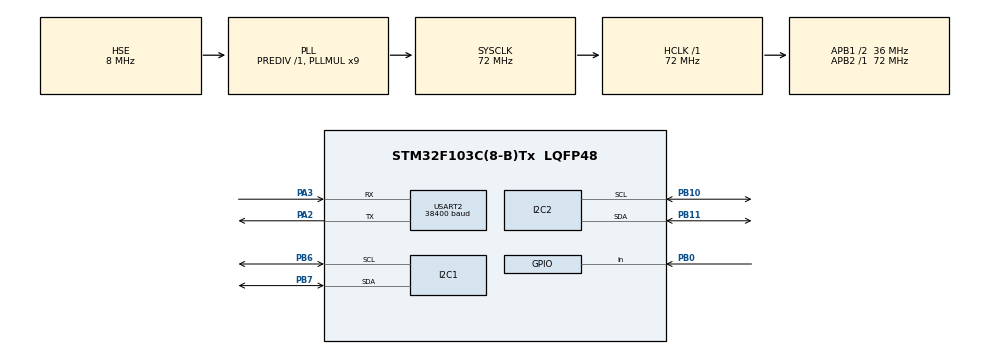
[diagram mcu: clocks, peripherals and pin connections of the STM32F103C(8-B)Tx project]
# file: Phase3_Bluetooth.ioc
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Dma.Request0=USART2_TX
Dma.Request1=USART2_RX
Dma.USART2_RX.1.Direction=DMA_PERIPH_TO_MEMORY
Dma.USART2_RX.1.Instance=DMA1_Channel6
Dma.USART2_RX.1.MemDataAlignment=DMA_MDATAALIGN_BYTE
Dma.USART2_RX.1.MemInc=DMA_MINC_ENABLE
Dma.USART2_RX.1.Mode=DMA_CIRCULAR
Dma.USART2_RX.1.PeriphDataAlignment=DMA_PDATAALIGN_BYTE
Dma.USART2_RX.1.PeriphInc=DMA_PINC_DISABLE
Dma.USART2_RX.1.Priority=DMA_PRIORITY_LOW
Dma.USART2_TX.0.Direction=DMA_MEMORY_TO_PERIPH
Dma.USART2_TX.0.Instance=DMA1_Channel7
Dma.USART2_TX.0.MemDataAlignment=DMA_MDATAALIGN_BYTE
Dma.USART2_TX.0.MemInc=DMA_MINC_ENABLE
Dma.USART2_TX.0.Mode=DMA_NORMAL
Dma.USART2_TX.0.PeriphDataAlignment=DMA_PDATAALIGN_BYTE
Dma.USART2_TX.0.PeriphInc=DMA_PINC_DISABLE
Dma.USART2_TX.0.Priority=DMA_PRIORITY_LOW
Mcu.Family=STM32F1
Mcu.Name=STM32F103C(8-B)Tx
Mcu.Package=LQFP48
NVIC.DMA1_Channel6_IRQn=true\:0\:0\:false\:false\:true\:false\:true\:true
NVIC.DMA1_Channel7_IRQn=true\:0\:0\:false\:false\:true\:false\:true\:true
NVIC.PriorityGroup=NVIC_PRIORITYGROUP_4
NVIC.USART2_IRQn=true\:5\:0\:true\:false\:true\:true\:true\:true
PA13.Mode=Serial_Wire
PA13.Signal=SYS_JTMS-SWDIO
PA14.Mode=Serial_Wire
PA14.Signal=SYS_JTCK-SWCLK
PA2.Mode=Asynchronous
PA2.Signal=USART2_TX
PA3.Mode=Asynchronous
PA3.Signal=USART2_RX
PB0.GPIO_PuPd=GPIO_PULLDOWN
PB0.Signal=GPIO_Input
PB10.Mode=I2C
PB10.Signal=I2C2_SCL
PB11.Mode=I2C
PB11.Signal=I2C2_SDA
PB6.Mode=I2C
PB6.Signal=I2C1_SCL
PB7.Mode=I2C
PB7.Signal=I2C1_SDA
PD0-OSC_IN.Mode=HSE-External-Oscillator
PD0-OSC_IN.Signal=RCC_OSC_IN
PD1-OSC_OUT.Mode=HSE-External-Oscillator
PD1-OSC_OUT.Signal=RCC_OSC_OUT
ProjectManager.HeapSize=0x200
ProjectManager.StackSize=0x400
ProjectManager.TargetToolchain=CMake
RCC.AHBFreq_Value=72000000
RCC.APB1CLKDivider=RCC_HCLK_DIV2
RCC.APB1Freq_Value=36000000
RCC.APB1TimFreq_Value=72000000
RCC.APB2Freq_Value=72000000
RCC.APB2TimFreq_Value=72000000
RCC.HCLKFreq_Value=72000000
RCC.PLLMUL=RCC_PLL_MUL9
RCC.PLLSourceVirtual=RCC_PLLSOURCE_HSE
RCC.SYSCLKFreq_VALUE=72000000
RCC.SYSCLKSource=RCC_SYSCLKSOURCE_PLLCLK
RCC.USBFreq_Value=72000000
USART2.BaudRate=38400
USART2.VirtualMode=VM_ASYNC
board=custom

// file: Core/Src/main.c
/* USER CODE BEGIN Header */
/**
  ******************************************************************************
  * @file           : main.c
  * @brief          : Main program body
  ******************************************************************************
  * @attention
  *
  * Copyright (c) 2026 STMicroelectronics.
  * All rights reserved.
  *
  * This software is licensed under terms that can be found in the LICENSE file
  * in the root directory of this software component.
  * If no LICENSE file comes with this software, it is provided AS-IS.
  *
  ******************************************************************************
  */
/* USER CODE END Header */
#include "main.h"
#include "dma.h"
#include "i2c.h"
#include "usart.h"
#include "gpio.h"

/* USER CODE BEGIN Includes */
#include "oled.h"
#include "smartwatch_ui.h"
#include "mpu6050.h"
#include "usart.h"
#include "bluetooth.h"
/* USER CODE END Includes */

/* USER CODE BEGIN PV */
SmartWatchData_t watch_data;
/* USER CODE END PV */

void SystemClock_Config(void);

int main(void)
{

  /* MCU Configuration--------------------------------------------------------*/

  /* Reset of all peripherals, Initializes the Flash interface and the Systick. */
  HAL_Init();

  /* Configure the system clock */
  SystemClock_Config();

  /* Initialize all configured peripherals */
  MX_GPIO_Init();
  MX_DMA_Init();
  MX_I2C1_Init();
  MX_I2C2_Init();
  MX_USART2_UART_Init();
  /* USER CODE BEGIN 2 */

  UI_InitData(&watch_data);

  /* Initialize OLED */
  OLED_Init();

  /* Initialize MPU6050 */
  watch_data.imu_status = (MPU6050_Init() == 0) ? 1 : 0;

  /* Initialize Bluetooth */
  BT_Init();
  watch_data.bt_connected = 0;

  /* Show IMU page */
  UI_DrawPage(PAGE_IMU, &watch_data);

  /* USER CODE END 2 */

  /* Infinite loop */
  while (1)
  {

    /* USER CODE BEGIN 3 */
    uint32_t now = HAL_GetTick();

    /* Read MPU6050 and update display every 200ms */
    {
        static uint32_t last_mpu_tick = 0;
        static uint32_t last_retry_tick = 0;
        static uint32_t last_bt_tick = 0;

        if (watch_data.imu_status) {
            if (now - last_mpu_tick >= 200) {
                int acc_ok = MPU6050_ReadAccel(&watch_data.accel);
                int gyr_ok = MPU6050_ReadGyro(&watch_data.gyro);
                float temp = MPU6050_ReadTemp();

                if (acc_ok != 0 || gyr_ok != 0 || temp < -100.0f) {
                    watch_data.imu_status = 0;
                } else {
                    MPU6050_CalcAngle(&watch_data.accel, &watch_data.angle);
                    watch_data.temp_celsius = (int8_t)temp;
                }

                /* Send sensor data via Bluetooth every 1s */
                if (now - last_bt_tick >= 1000) {
                    BT_SendSensorData(&watch_data);
                    last_bt_tick = now;
                }

                UI_DrawPage(PAGE_IMU, &watch_data);
                last_mpu_tick = now;
            }
        } else {
            if (now - last_retry_tick >= 3000) {
                if (MPU6050_Init() == 0) {
                    watch_data.imu_status = 1;
                }
                UI_DrawPage(PAGE_IMU, &watch_data);
                last_retry_tick = now;
            }
        }
    }

    /* Process incoming Bluetooth frames */
    if (BT_Process(&watch_data)) {
        UI_DrawPage(PAGE_IMU, &watch_data);
    }

    /* Read HC-05 STATE pin to update connection status */
    watch_data.bt_connected = BT_IsConnected();
  }
  /* USER CODE END 3 */
}

void SystemClock_Config(void)
{
  RCC_OscInitTypeDef RCC_OscInitStruct = {0};
  RCC_ClkInitTypeDef RCC_ClkInitStruct = {0};

  /** Initializes the RCC Oscillators according to the specified parameters
  * in the RCC_OscInitTypeDef structure.
  */
  RCC_OscInitStruct.OscillatorType = RCC_OSCILLATORTYPE_HSE;
  RCC_OscInitStruct.HSEState = RCC_HSE_ON;
  RCC_OscInitStruct.HSEPredivValue = RCC_HSE_PREDIV_DIV1;
  RCC_OscInitStruct.HSIState = RCC_HSI_ON;
  RCC_OscInitStruct.PLL.PLLState = RCC_PLL_ON;
  RCC_OscInitStruct.PLL.PLLSource = RCC_PLLSOURCE_HSE;
  RCC_OscInitStruct.PLL.PLLMUL = RCC_PLL_MUL9;
  if (HAL_RCC_OscConfig(&RCC_OscInitStruct) != HAL_OK)
  {
    Error_Handler();
  }

  /** Initializes the CPU, AHB and APB buses clocks
  */
  RCC_ClkInitStruct.ClockType = RCC_CLOCKTYPE_HCLK|RCC_CLOCKTYPE_SYSCLK
                              |RCC_CLOCKTYPE_PCLK1|RCC_CLOCKTYPE_PCLK2;
  RCC_ClkInitStruct.SYSCLKSource = RCC_SYSCLKSOURCE_PLLCLK;
  RCC_ClkInitStruct.AHBCLKDivider = RCC_SYSCLK_DIV1;
  RCC_ClkInitStruct.APB1CLKDivider = RCC_HCLK_DIV2;
  RCC_ClkInitStruct.APB2CLKDivider = RCC_HCLK_DIV1;

  if (HAL_RCC_ClockConfig(&RCC_ClkInitStruct, FLASH_LATENCY_2) != HAL_OK)
  {
    Error_Handler();
  }
}

void Error_Handler(void)
{
  __disable_irq();
  while (1)
  {
  }
}
